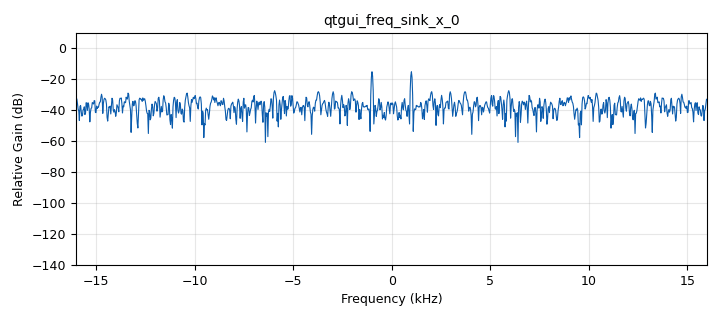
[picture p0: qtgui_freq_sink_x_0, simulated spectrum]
<?xml version='1.0' encoding='utf-8'?>
<?grc format='1' created='3.7.13'?>
<flow_graph>
<block>
<key>options</key>
<param><key>id</key><value>top_block</value></param>
<param><key>generate_options</key><value>qt_gui</value></param>
</block>
<block>
<key>variable</key>
<param><key>id</key><value>samp_rate</value></param>
<param><key>value</key><value>32000</value></param>
</block>
<block>
<key>analog_noise_source_x</key>
<param><key>id</key><value>analog_noise_source_x_0</value></param>
<param><key>amp</key><value>1</value></param>
<param><key>noise_type</key><value>analog.GR_GAUSSIAN</value></param>
<param><key>type</key><value>float</value></param>
<param><key>seed</key><value>0</value></param>
</block>
<block>
<key>analog_sig_source_x</key>
<param><key>id</key><value>analog_sig_source_x_0</value></param>
<param><key>amp</key><value>1</value></param>
<param><key>freq</key><value>1000</value></param>
<param><key>offset</key><value>0</value></param>
<param><key>type</key><value>float</value></param>
<param><key>samp_rate</key><value>samp_rate</value></param>
<param><key>waveform</key><value>analog.GR_COS_WAVE</value></param>
</block>
<block>
<key>blocks_add_xx</key>
<param><key>id</key><value>blocks_add_xx_0</value></param>
<param><key>type</key><value>float</value></param>
</block>
<block>
<key>blocks_throttle</key>
<param><key>id</key><value>blocks_throttle_0</value></param>
<param><key>samples_per_second</key><value>samp_rate</value></param>
<param><key>type</key><value>float</value></param>
</block>
<block>
<key>qtgui_freq_sink_x</key>
<param><key>id</key><value>qtgui_freq_sink_x_0</value></param>
<param><key>bw</key><value>samp_rate</value></param>
<param><key>fc</key><value>0</value></param>
<param><key>fftsize</key><value>1024</value></param>
<param><key>showports</key><value>True</value></param>
<param><key>type</key><value>float</value></param>
<param><key>wintype</key><value>firdes.WIN_BLACKMAN_hARRIS</value></param>
</block>
<block>
<key>qtgui_sink_x</key>
<param><key>id</key><value>qtgui_sink_x_0</value></param>
<param><key>bw</key><value>samp_rate</value></param>
<param><key>fc</key><value>0</value></param>
<param><key>freqchangevar</key><value>None</value></param>
<param><key>_enabled</key><value>0</value></param>
<param><key>fftsize</key><value>1024</value></param>
<param><key>showports</key><value>True</value></param>
<param><key>type</key><value>float</value></param>
<param><key>wintype</key><value>firdes.WIN_KAISER</value></param>
</block>
<connection><source_block_id>analog_noise_source_x_0</source_block_id><sink_block_id>blocks_add_xx_0</sink_block_id><source_key>0</source_key><sink_key>1</sink_key></connection>
<connection><source_block_id>analog_sig_source_x_0</source_block_id><sink_block_id>blocks_throttle_0</sink_block_id><source_key>0</source_key><sink_key>0</sink_key></connection>
<connection><source_block_id>blocks_add_xx_0</source_block_id><sink_block_id>qtgui_freq_sink_x_0</sink_block_id><source_key>0</source_key><sink_key>0</sink_key></connection>
<connection><source_block_id>blocks_add_xx_0</source_block_id><sink_block_id>qtgui_sink_x_0</sink_block_id><source_key>0</source_key><sink_key>0</sink_key></connection>
<connection><source_block_id>blocks_throttle_0</source_block_id><sink_block_id>blocks_add_xx_0</sink_block_id><source_key>0</source_key><sink_key>0</sink_key></connection>
</flow_graph>
